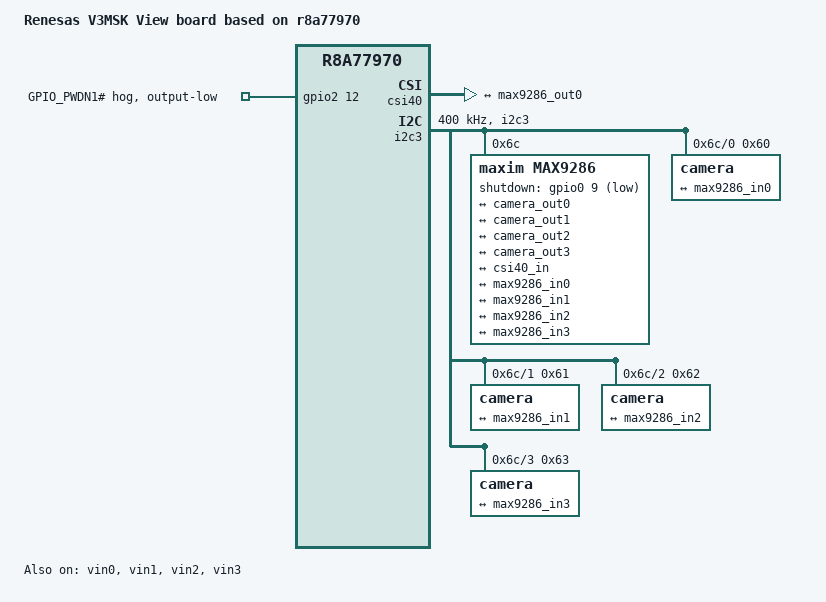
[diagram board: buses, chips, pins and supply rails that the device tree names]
// SPDX-License-Identifier: GPL-2.0
/*
 * Device Tree Source for the V3MSK View board on r8a77970
 *
 * Copyright (C) 2017-2020 Cogent Embedded, Inc.
 */

#include "r8a77970-v3msk.dts"
#include <dt-bindings/gpio/gpio.h>
#include "camera.dtsi"

/ {
	model = "Renesas V3MSK View board based on r8a77970";
};

&csi40 {
	status = "okay";

	ports {
		#address-cells = <1>;
		#size-cells = <0>;

		port@0 {
			reg = <0>;

			csi40_in: endpoint {
				clock-lanes = <0>;
				data-lanes = <1 2 3 4>;
				remote-endpoint = <&max9286_out0>;
			};
		};
	};
};

&i2c3 {
	pinctrl-0 = <&i2c3_pins>;
	pinctrl-names = "default";
	status = "okay";

	clock-frequency = <400000>;

	max9286@6c {
		compatible = "maxim,max9286";
		#address-cells = <1>;
		#size-cells = <0>;
		reg = <0x6c>;
		regs = <0x0c 0x0d 0x0e 0x0f>;
		shutdown-gpios = <&gpio0 9 GPIO_ACTIVE_LOW>;

		ports {
			#address-cells = <1>;
			#size-cells = <0>;

			port@0 {
				reg = <0>;
				max9286_in0: endpoint {
					remote-endpoint = <&camera_out0>;
				};
			};

			port@1 {
				reg = <1>;
				max9286_in1: endpoint {
					remote-endpoint = <&camera_out1>;
				};
			};

			port@2 {
				reg = <2>;
				max9286_in2: endpoint {
					remote-endpoint = <&camera_out2>;
				};
			};

			port@3 {
				reg = <3>;
				max9286_in3: endpoint {
					remote-endpoint = <&camera_out3>;
				};
			};

			port@4 {
				reg = <4>;
				max9286_out0: endpoint {
					clock-lanes = <0>;
					data-lanes = <1 2 3 4>;
					remote-endpoint = <&csi40_in>;
				};
			};
		};

		i2c@0 {
			#address-cells = <1>;
			#size-cells = <0>;
			reg = <0>;

			camera@60 {
				compatible = LVDS_CAMERA;
				reg = <0x60 0x0c>;

				port {
					camera_out0: endpoint {
						remote-endpoint = <&max9286_in0>;
					};
				};
			};
		};

		i2c@1 {
			#address-cells = <1>;
			#size-cells = <0>;
			reg = <1>;

			camera@61 {
				compatible = LVDS_CAMERA;
				reg = <0x61 0x0d>;

				port {
					camera_out1: endpoint {
						remote-endpoint = <&max9286_in1>;
					};
				};
			};
		};

		i2c@2 {
			#address-cells = <1>;
			#size-cells = <0>;
			reg = <2>;

			camera@62 {
				compatible = LVDS_CAMERA;
				reg = <0x62 0x0e>;

				port {
					camera_out2: endpoint {
						remote-endpoint = <&max9286_in2>;
					};
				};
			};
		};

		i2c@3 {
			#address-cells = <1>;
			#size-cells = <0>;
			reg = <3>;

			camera@63 {
				compatible = LVDS_CAMERA;
				reg = <0x63 0x0f>;

				port {
					camera_out3: endpoint {
						remote-endpoint = <&max9286_in3>;
					};
				};
			};
		};
	};
};

&gpio2 {
	gpio_pwdn1 {
		gpio-hog;
		gpios = <12 GPIO_ACTIVE_HIGH>;
		output-low;
		line-name = "GPIO_PWDN1#";
	};
};

&pfc {
	i2c3_pins: i2c3 {
		groups = "i2c3";
		function = "i2c3";
	};
};

&vin0 {
	status = "okay";
};

&vin1 {
	status = "okay";
};

&vin2 {
	status = "okay";
};

&vin3 {
	status = "okay";
};
